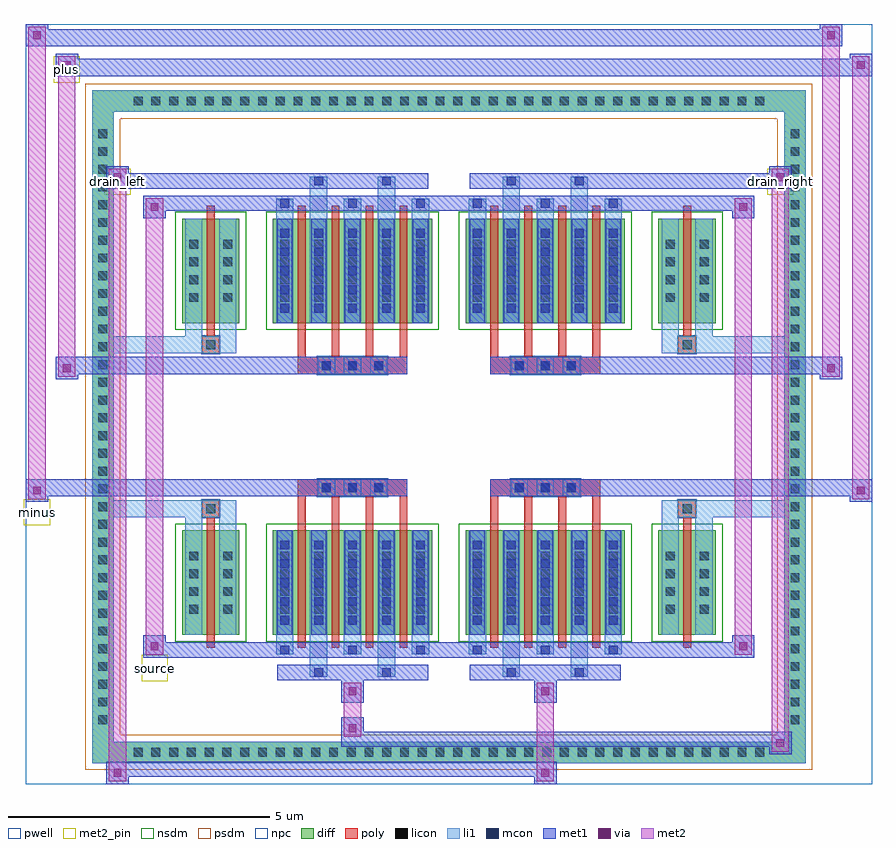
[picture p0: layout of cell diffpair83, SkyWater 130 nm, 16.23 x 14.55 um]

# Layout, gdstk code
import gdstk
lib = gdstk.Library(unit=1e-6, precision=5e-09)
def R(c, l, rs):  # rectangles x0, y0, x1, y1
    for r in rs: c.add(gdstk.rectangle(r[:2], r[2:], *l))
def A(c, l, x, y, w, h, nx, ny, dx, dy):  # array of equal rectangles
    R(c, l, [(x+i*dx, y+j*dy, x+i*dx+w, y+j*dy+h) for i in range(nx) for j in range(ny)])
def P(c, l, *ps):  # polygons
    for p in ps: c.add(gdstk.Polygon(p, *l))
pwell = (64, 44)
diff = (65, 20)
poly = (66, 20)
licon = (66, 44)
li1 = (67, 20)
mcon = (67, 44)
met1 = (68, 20)
via = (68, 44)
met2_pin = (69, 16)
met2 = (69, 20)
nsdm = (93, 44)
psdm = (94, 20)
npc = (95, 20)

diffpair83 = lib.new_cell('diffpair83')
R(diffpair83, pwell, [(-8.1,-6.84,8.1,7.71), (-5.42,-5.03,-0.01,-0.805), (0.01,-5.03,5.42,-0.805), (-5.42,0.805,-0.01,5.03), (0.01,0.805,5.42,5.03)])
A(diffpair83, diff, -6.155, -6.44, 0.41, 0.41, 36, 2, 0.34, 12.47)
A(diffpair83, diff, -6.83, -5.815, 0.41, 0.41, 1, 34, 0, 0.34)
A(diffpair83, diff, 6.42, -5.815, 0.41, 0.41, 1, 34, 0, 0.34)
R(diffpair83, diff, [(-6.155,-6.44,6.155,-6.03), (-6.83,-5.815,-6.42,5.815), (6.42,-5.815,6.83,5.815), (-5.11,-3.985,-4.01,-1.985), (-3.37,-3.985,-0.32,-1.985), (0.32,-3.985,3.37,-1.985), (4.01,-3.985,5.11,-1.985), (-5.11,1.985,-4.01,3.985), (-3.37,1.985,-0.32,3.985), (0.32,1.985,3.37,3.985), (4.01,1.985,5.11,3.985), (-6.155,6.03,6.155,6.44)])
P(diffpair83, diff, [(6.83,6.44),(-6.83,6.44),(-6.83,-6.03),(-6.42,-6.03),(-6.42,6.03),(6.42,6.03),(6.42,-6.03),(-6.42,-6.03),(-6.83,-6.03),(-6.83,-6.44),(6.83,-6.44)])
A(diffpair83, poly, -2.895, -4.235, 0.15, 2.5, 4, 2, 0.65, 5.97)
A(diffpair83, poly, 0.795, -4.235, 0.15, 2.5, 4, 2, 0.65, 5.97)
A(diffpair83, poly, -2.895, -1.735, 0.15, 0.4, 4, 2, 0.65, 3.07)
A(diffpair83, poly, 0.795, -1.735, 0.15, 0.4, 4, 2, 0.65, 3.07)
A(diffpair83, poly, -2.51, -1.335, 0.33, 0.33, 3, 2, 0.5, 2.34)
A(diffpair83, poly, 1.18, -1.335, 0.33, 0.33, 3, 2, 0.5, 2.34)
R(diffpair83, poly, [(-4.635,-4.235,-4.485,-1.735), (4.485,-4.235,4.635,-1.735), (-4.725,-1.735,-4.395,-1.405), (-4.725,-1.735,-4.395,-1.405), (4.395,-1.735,4.725,-1.405), (4.395,-1.735,4.725,-1.405), (-2.895,-1.335,-0.795,-1.005), (0.795,-1.335,2.895,-1.005), (-2.895,1.005,-0.795,1.335), (0.795,1.005,2.895,1.335), (-4.725,1.405,-4.395,1.735), (-4.725,1.405,-4.395,1.735), (4.395,1.405,4.725,1.735), (4.395,1.405,4.725,1.735), (-4.635,1.735,-4.485,4.235), (4.485,1.735,4.635,4.235)])
A(diffpair83, licon, -6.035, -6.32, 0.17, 0.17, 36, 2, 0.34, 12.47)
A(diffpair83, licon, -6.71, -5.695, 0.17, 0.17, 1, 34, 0, 0.34)
A(diffpair83, licon, 6.54, -5.695, 0.17, 0.17, 1, 34, 0, 0.34)
A(diffpair83, licon, -4.97, -3.58, 0.17, 0.17, 1, 4, 0, 0.34)
A(diffpair83, licon, -4.32, -3.58, 0.17, 0.17, 1, 4, 0, 0.34)
A(diffpair83, licon, -3.23, -3.58, 0.17, 0.17, 5, 4, 0.65, 0.34)
A(diffpair83, licon, 0.46, -3.58, 0.17, 0.17, 5, 4, 0.65, 0.34)
A(diffpair83, licon, 4.15, -3.58, 0.17, 0.17, 1, 4, 0, 0.34)
A(diffpair83, licon, 4.8, -3.58, 0.17, 0.17, 1, 4, 0, 0.34)
A(diffpair83, licon, -2.43, -1.255, 0.17, 0.17, 3, 2, 0.5, 2.34)
A(diffpair83, licon, 1.26, -1.255, 0.17, 0.17, 3, 2, 0.5, 2.34)
A(diffpair83, licon, -4.97, 2.39, 0.17, 0.17, 1, 4, 0, 0.34)
A(diffpair83, licon, -4.32, 2.39, 0.17, 0.17, 1, 4, 0, 0.34)
A(diffpair83, licon, -3.23, 2.39, 0.17, 0.17, 5, 4, 0.65, 0.34)
A(diffpair83, licon, 0.46, 2.39, 0.17, 0.17, 5, 4, 0.65, 0.34)
A(diffpair83, licon, 4.15, 2.39, 0.17, 0.17, 1, 4, 0, 0.34)
A(diffpair83, licon, 4.8, 2.39, 0.17, 0.17, 1, 4, 0, 0.34)
R(diffpair83, licon, [(-4.645,-1.655,-4.475,-1.485), (4.475,-1.655,4.645,-1.485), (-4.645,1.485,-4.475,1.655), (4.475,1.485,4.645,1.655)])
A(diffpair83, li1, -6.115, -6.4, 0.33, 0.33, 36, 2, 0.34, 12.47)
A(diffpair83, li1, -6.79, -5.775, 0.33, 0.33, 1, 34, 0, 0.34)
A(diffpair83, li1, 6.46, -5.775, 0.33, 0.33, 1, 34, 0, 0.34)
A(diffpair83, li1, -3.31, -4.36, 0.33, 0.375, 3, 2, 1.3, 8.345)
A(diffpair83, li1, -3.23, -4.36, 0.17, 0.17, 3, 2, 1.3, 8.55)
A(diffpair83, li1, 0.38, -4.36, 0.33, 0.375, 3, 2, 1.3, 8.345)
A(diffpair83, li1, 0.46, -4.36, 0.17, 0.17, 3, 2, 1.3, 8.55)
A(diffpair83, li1, -3.31, -3.985, 0.33, 2, 5, 2, 0.65, 5.97)
A(diffpair83, li1, 0.38, -3.985, 0.33, 2, 5, 2, 0.65, 5.97)
A(diffpair83, li1, -3.23, -3.79, 0.17, 0.17, 5, 5, 0.65, 0.36)
A(diffpair83, li1, -3.23, -3.79, 0.17, 1.61, 5, 2, 0.65, 5.97)
A(diffpair83, li1, 0.46, -3.79, 0.17, 0.17, 5, 5, 0.65, 0.36)
A(diffpair83, li1, 0.46, -3.79, 0.17, 1.61, 5, 2, 0.65, 5.97)
A(diffpair83, li1, -5.05, -3.66, 0.33, 0.33, 1, 4, 0, 0.34)
A(diffpair83, li1, -4.4, -3.66, 0.33, 0.33, 1, 4, 0, 0.34)
A(diffpair83, li1, -3.31, -3.66, 0.33, 0.33, 5, 4, 0.65, 0.34)
A(diffpair83, li1, 0.38, -3.66, 0.33, 0.33, 5, 4, 0.65, 0.34)
A(diffpair83, li1, 4.07, -3.66, 0.33, 0.33, 1, 4, 0, 0.34)
A(diffpair83, li1, 4.72, -3.66, 0.33, 0.33, 1, 4, 0, 0.34)
A(diffpair83, li1, -2.51, -1.335, 0.33, 0.33, 3, 2, 0.5, 2.34)
A(diffpair83, li1, 1.18, -1.335, 0.33, 0.33, 3, 2, 0.5, 2.34)
A(diffpair83, li1, -3.23, 2.18, 0.17, 0.17, 5, 5, 0.65, 0.36)
A(diffpair83, li1, 0.46, 2.18, 0.17, 0.17, 5, 5, 0.65, 0.36)
A(diffpair83, li1, -5.05, 2.31, 0.33, 0.33, 1, 4, 0, 0.34)
A(diffpair83, li1, -4.4, 2.31, 0.33, 0.33, 1, 4, 0, 0.34)
A(diffpair83, li1, -3.31, 2.31, 0.33, 0.33, 5, 4, 0.65, 0.34)
A(diffpair83, li1, 0.38, 2.31, 0.33, 0.33, 5, 4, 0.65, 0.34)
A(diffpair83, li1, 4.07, 2.31, 0.33, 0.33, 1, 4, 0, 0.34)
A(diffpair83, li1, 4.72, 2.31, 0.33, 0.33, 1, 4, 0, 0.34)
R(diffpair83, li1, [(-6.83,-6.44,-6.42,-6.03), (-6.83,-6.44,-6.42,-6.03), (-6.42,-6.44,6.42,-6.03), (6.42,-6.44,6.83,-6.03), (6.42,-6.44,6.83,-6.03), (-6.83,-6.03,-6.42,6.03), (6.42,-6.03,6.83,6.03), (-2.66,-4.79,-2.33,-3.985), (-2.58,-4.79,-2.41,-4.62), (-1.36,-4.79,-1.03,-3.985), (-1.28,-4.79,-1.11,-4.62), (1.03,-4.79,1.36,-3.985), (1.11,-4.79,1.28,-4.62), (2.33,-4.79,2.66,-3.985), (2.41,-4.79,2.58,-4.62), (-5.05,-3.985,-4.72,-1.985), (-4.4,-3.985,-4.07,-1.985), (4.07,-3.985,4.4,-1.985), (4.72,-3.985,5.05,-1.985), (-5.05,-1.985,-4.72,-1.405), (-4.4,-1.985,-4.07,-1.405), (4.07,-1.985,4.4,-1.405), (4.72,-1.985,5.05,-1.405), (-6.83,-1.735,-4.725,-1.405), (-5.05,-1.735,-4.725,-1.405), (-4.725,-1.735,-4.395,-1.405), (-4.395,-1.735,-4.07,-1.405), (4.07,-1.735,4.395,-1.405), (4.395,-1.735,4.725,-1.405), (4.395,-1.735,6.83,-1.405), (4.725,-1.735,5.05,-1.405), (-6.83,1.405,-4.725,1.735), (-5.05,1.405,-4.725,1.735), (-5.05,1.405,-4.72,1.985), (-4.725,1.405,-4.395,1.735), (-4.4,1.405,-4.07,1.985), (-4.395,1.405,-4.07,1.735), (4.07,1.405,4.395,1.735), (4.07,1.405,4.4,1.985), (4.395,1.405,4.725,1.735), (4.395,1.405,6.83,1.735), (4.72,1.405,5.05,1.985), (4.725,1.405,5.05,1.735), (-5.05,1.985,-4.72,3.985), (-4.4,1.985,-4.07,3.985), (4.07,1.985,4.4,3.985), (4.72,1.985,5.05,3.985), (-2.66,3.985,-2.33,4.79), (-1.36,3.985,-1.03,4.79), (1.03,3.985,1.36,4.79), (2.33,3.985,2.66,4.79), (-2.58,4.62,-2.41,4.79), (-1.28,4.62,-1.11,4.79), (1.11,4.62,1.28,4.79), (2.41,4.62,2.58,4.79), (-6.83,6.03,-6.42,6.44), (-6.83,6.03,-6.42,6.44), (-6.42,6.03,6.42,6.44), (6.42,6.03,6.83,6.44), (6.42,6.03,6.83,6.44)])
A(diffpair83, mcon, -3.23, -4.36, 0.17, 0.17, 3, 2, 1.3, 8.55)
A(diffpair83, mcon, 0.46, -4.36, 0.17, 0.17, 3, 2, 1.3, 8.55)
A(diffpair83, mcon, -3.23, -3.79, 0.17, 0.17, 5, 5, 0.65, 0.36)
A(diffpair83, mcon, 0.46, -3.79, 0.17, 0.17, 5, 5, 0.65, 0.36)
A(diffpair83, mcon, -2.43, -1.255, 0.17, 0.17, 3, 2, 0.5, 2.34)
A(diffpair83, mcon, 1.26, -1.255, 0.17, 0.17, 3, 2, 0.5, 2.34)
A(diffpair83, mcon, -3.23, 2.18, 0.17, 0.17, 5, 5, 0.65, 0.36)
A(diffpair83, mcon, 0.46, 2.18, 0.17, 0.17, 5, 5, 0.65, 0.36)
R(diffpair83, mcon, [(-2.58,-4.79,-2.41,-4.62), (-1.28,-4.79,-1.11,-4.62), (1.11,-4.79,1.28,-4.62), (2.41,-4.79,2.58,-4.62), (-2.58,4.62,-2.41,4.79), (-1.28,4.62,-1.11,4.79), (1.11,4.62,1.28,4.79), (2.41,4.62,2.58,4.79)])
A(diffpair83, met1, -3.29, -4.42, 0.29, 0.29, 3, 2, 1.3, 8.55)
A(diffpair83, met1, 0.4, -4.42, 0.29, 0.29, 3, 2, 1.3, 8.55)
A(diffpair83, met1, -3.29, -3.985, 0.29, 2, 5, 2, 0.65, 5.97)
A(diffpair83, met1, 0.4, -3.985, 0.29, 2, 5, 2, 0.65, 5.97)
A(diffpair83, met1, -3.29, -3.85, 0.29, 0.29, 5, 5, 0.65, 0.36)
A(diffpair83, met1, 0.4, -3.85, 0.29, 0.29, 5, 5, 0.65, 0.36)
A(diffpair83, met1, -2.49, -1.315, 0.29, 0.29, 3, 2, 0.5, 2.34)
A(diffpair83, met1, 1.2, -1.315, 0.29, 0.29, 3, 2, 0.5, 2.34)
A(diffpair83, met1, -3.29, 2.12, 0.29, 0.29, 5, 5, 0.65, 0.36)
A(diffpair83, met1, 0.4, 2.12, 0.29, 0.29, 5, 5, 0.65, 0.36)
R(diffpair83, met1, [(-6.56,-6.84,-6.13,-6.41), (1.63,-6.84,2.06,-6.41), (-6.56,-6.7,2.06,-6.41), (6.13,-6.27,6.56,-5.84), (-2.06,-6.13,6.56,-5.84), (-2.06,-5.99,-1.63,-5.56), (-2.06,-5.28,-1.63,-4.85), (1.63,-5.28,2.06,-4.85), (-3.29,-4.85,-0.4,-4.56), (-2.64,-4.85,-2.35,-4.56), (-1.34,-4.85,-1.05,-4.56), (0.4,-4.85,3.29,-4.56), (1.05,-4.85,1.34,-4.56), (2.35,-4.85,2.64,-4.56), (-5.85,-4.42,-5.42,-3.99), (-5.85,-4.42,-3.29,-4.13), (-3.29,-4.42,-0.4,-4.13), (-0.4,-4.42,0.4,-4.13), (0.4,-4.42,3.29,-4.13), (3.29,-4.42,5.85,-4.13), (5.42,-4.42,5.85,-3.99), (-8.1,-1.435,-7.67,-1.005), (7.67,-1.435,8.1,-1.005), (-8.1,-1.335,-0.795,-1.005), (-2.895,-1.335,-0.795,-1.005), (0.795,-1.335,2.895,-1.005), (0.795,-1.335,8.1,-1.005), (-7.53,0.905,-7.1,1.335), (7.1,0.905,7.53,1.335), (-7.53,1.005,-2.895,1.335), (-2.895,1.005,-0.795,1.335), (0.795,1.005,2.895,1.335), (2.895,1.005,7.53,1.335), (-5.85,3.99,-5.42,4.42), (5.42,3.99,5.85,4.42), (-5.85,4.13,-3.29,4.42), (-3.29,4.13,-0.4,4.42), (-0.4,4.13,0.4,4.42), (0.4,4.13,3.29,4.42), (3.29,4.13,5.85,4.42), (-6.56,4.56,-6.13,4.99), (-6.56,4.56,-3.29,4.85), (-3.29,4.56,-0.4,4.85), (-2.64,4.56,-2.35,4.85), (-1.34,4.56,-1.05,4.85), (0.4,4.56,3.29,4.85), (1.05,4.56,1.34,4.85), (2.35,4.56,2.64,4.85), (3.29,4.56,6.56,4.85), (6.13,4.56,6.56,4.99), (-7.53,6.71,-7.1,7.14), (-7.53,6.71,-5.42,7.04), (-5.42,6.71,5.42,7.04), (5.42,6.71,8.1,7.04), (7.67,6.71,8.1,7.14), (-8.1,7.28,-7.67,7.71), (-8.1,7.28,-5.42,7.61), (-5.42,7.28,5.42,7.61), (5.42,7.28,7.53,7.61), (7.1,7.28,7.53,7.71)])
R(diffpair83, via, [(-6.42,-6.7,-6.27,-6.55), (1.77,-6.7,1.92,-6.55), (6.27,-6.13,6.42,-5.98), (-1.92,-5.85,-1.77,-5.7), (-1.92,-5.14,-1.77,-4.99), (1.77,-5.14,1.92,-4.99), (-5.71,-4.28,-5.56,-4.13), (5.56,-4.28,5.71,-4.13), (-7.96,-1.295,-7.81,-1.145), (7.81,-1.295,7.96,-1.145), (-7.39,1.045,-7.24,1.195), (7.24,1.045,7.39,1.195), (-5.71,4.13,-5.56,4.28), (5.56,4.13,5.71,4.28), (-6.42,4.7,-6.27,4.85), (6.27,4.7,6.42,4.85), (-7.39,6.85,-7.24,7), (7.81,6.85,7.96,7), (-7.96,7.42,-7.81,7.57), (7.24,7.42,7.39,7.57)])
R(diffpair83, met2_pin, [(-5.885,-4.87,-5.385,-4.37), (-8.135,-1.885,-7.635,-1.385), (-6.595,4.44,-6.095,4.94), (6.095,4.44,6.595,4.94), (-7.565,6.59,-7.065,7.09)])
R(diffpair83, met2, [(-6.51,-6.79,-6.18,-6.46), (-6.51,-6.79,-6.18,4.94), (1.68,-6.79,2.01,-6.46), (1.68,-6.46,2.01,-5.23), (6.18,-6.22,6.51,-5.89), (6.18,-6.22,6.51,4.94), (-2.01,-5.94,-1.68,-5.61), (-2.01,-5.61,-1.68,-5.23), (-2.01,-5.23,-1.68,-4.9), (1.68,-5.23,2.01,-4.9), (-5.8,-4.37,-5.47,-4.04), (-5.8,-4.37,-5.47,4.37), (5.47,-4.37,5.8,-4.04), (5.47,-4.37,5.8,4.37), (-8.05,-1.385,-7.72,-1.055), (-8.05,-1.385,-7.72,7.66), (7.72,-1.385,8.05,-1.055), (7.72,-1.385,8.05,7.09), (-7.48,0.955,-7.15,1.285), (-7.48,0.955,-7.15,7.09), (7.15,0.955,7.48,1.285), (7.15,0.955,7.48,7.66), (-5.8,4.04,-5.47,4.37), (5.47,4.04,5.8,4.37), (-6.51,4.61,-6.18,4.94), (6.18,4.61,6.51,4.94), (-7.48,6.76,-7.15,7.09), (7.72,6.76,8.05,7.09), (-8.05,7.33,-7.72,7.66), (7.15,7.33,7.48,7.66)])
P(diffpair83, met2, [(8.05,-1.385),(8.05,-1.385),(8.05,-1.055),(8.05,-1.055)],
  [(8.05,6.76),(8.05,6.76),(8.05,7.09),(8.05,7.09)],
  [(-7.72,-1.385),(-7.72,-1.385),(-7.72,-1.055),(-7.72,-1.055)],
  [(-7.72,7.33),(-7.72,7.33),(-7.72,7.66),(-7.72,7.66)],
  [(7.48,0.955),(7.48,0.955),(7.48,1.285),(7.48,1.285)],
  [(7.48,7.33),(7.48,7.33),(7.48,7.66),(7.48,7.66)],
  [(-7.15,0.955),(-7.15,0.955),(-7.15,1.285),(-7.15,1.285)],
  [(-7.15,6.76),(-7.15,6.76),(-7.15,7.09),(-7.15,7.09)],
  [(-6.18,-6.79),(-6.18,-6.79),(-6.18,-6.46),(-6.18,-6.46)],
  [(-6.18,4.61),(-6.18,4.61),(-6.18,4.94),(-6.18,4.94)],
  [(6.51,-6.22),(6.51,-6.22),(6.51,-5.89),(6.51,-5.89)],
  [(6.51,4.61),(6.51,4.61),(6.51,4.94),(6.51,4.94)],
  [(-5.47,-4.37),(-5.47,-4.37),(-5.47,-4.04),(-5.47,-4.04)],
  [(-5.47,4.04),(-5.47,4.04),(-5.47,4.37),(-5.47,4.37)],
  [(5.8,-4.37),(5.8,-4.37),(5.8,-4.04),(5.8,-4.04)],
  [(5.8,4.04),(5.8,4.04),(5.8,4.37),(5.8,4.37)])
R(diffpair83, nsdm, [(-5.24,-4.115,-3.88,-1.855), (-3.5,-4.115,-0.19,-1.855), (0.19,-4.115,3.5,-1.855), (3.88,-4.115,5.24,-1.855), (-5.24,1.855,-3.88,4.115), (-3.5,1.855,-0.19,4.115), (0.19,1.855,3.5,4.115), (3.88,1.855,5.24,4.115)])
P(diffpair83, psdm, [(6.96,6.57),(-6.96,6.57),(-6.96,-5.9),(-6.29,-5.9),(-6.29,5.9),(6.29,5.9),(6.29,-5.9),(-6.29,-5.9),(-6.96,-5.9),(-6.96,-6.57),(6.96,-6.57)])
A(diffpair83, npc, -2.53, -1.355, 0.37, 0.37, 3, 2, 0.5, 2.34)
A(diffpair83, npc, 1.16, -1.355, 0.37, 0.37, 3, 2, 0.5, 2.34)
R(diffpair83, npc, [(-4.745,-1.755,-4.375,-1.385), (4.375,-1.755,4.745,-1.385), (-2.53,-1.355,-1.66,-0.985), (-2.53,-1.355,-1.66,-0.985), (-2.03,-1.355,-1.16,-0.985), (-2.03,-1.355,-1.16,-0.985), (1.16,-1.355,2.03,-0.985), (1.16,-1.355,2.03,-0.985), (1.66,-1.355,2.53,-0.985), (1.66,-1.355,2.53,-0.985), (-2.53,0.985,-1.66,1.355), (-2.53,0.985,-1.66,1.355), (-2.03,0.985,-1.16,1.355), (-2.03,0.985,-1.16,1.355), (1.16,0.985,2.03,1.355), (1.16,0.985,2.03,1.355), (1.66,0.985,2.53,1.355), (1.66,0.985,2.53,1.355), (-4.745,1.385,-4.375,1.755), (4.375,1.385,4.745,1.755)])
diffpair83.add(gdstk.Label('minus', (-7.885,-1.635), layer=69, texttype=5))
diffpair83.add(gdstk.Label('drain_right', (6.345,4.69), layer=69, texttype=5))
diffpair83.add(gdstk.Label('drain_left', (-6.345,4.69), layer=69, texttype=5))
diffpair83.add(gdstk.Label('source', (-5.635,-4.62), layer=69, texttype=5))
diffpair83.add(gdstk.Label('plus', (-7.315,6.84), layer=69, texttype=5))

lib.write_gds('diffpair83.gds')
